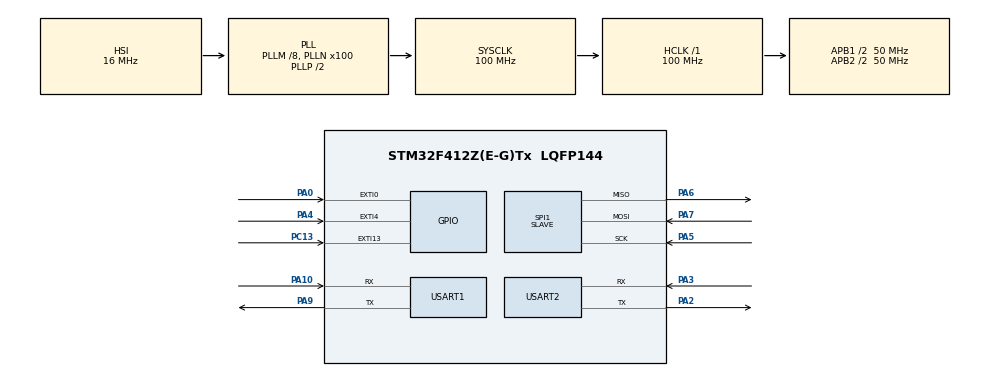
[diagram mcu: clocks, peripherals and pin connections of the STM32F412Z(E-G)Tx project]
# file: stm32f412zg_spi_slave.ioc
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Dma.Request0=SPI1_RX
Dma.Request1=SPI1_TX
Dma.SPI1_RX.0.Direction=DMA_PERIPH_TO_MEMORY
Dma.SPI1_RX.0.FIFOMode=DMA_FIFOMODE_DISABLE
Dma.SPI1_RX.0.Instance=DMA2_Stream0
Dma.SPI1_RX.0.MemDataAlignment=DMA_MDATAALIGN_BYTE
Dma.SPI1_RX.0.MemInc=DMA_MINC_ENABLE
Dma.SPI1_RX.0.Mode=DMA_NORMAL
Dma.SPI1_RX.0.PeriphDataAlignment=DMA_PDATAALIGN_BYTE
Dma.SPI1_RX.0.PeriphInc=DMA_PINC_DISABLE
Dma.SPI1_RX.0.Priority=DMA_PRIORITY_LOW
Dma.SPI1_TX.1.Direction=DMA_MEMORY_TO_PERIPH
Dma.SPI1_TX.1.FIFOMode=DMA_FIFOMODE_DISABLE
Dma.SPI1_TX.1.Instance=DMA2_Stream2
Dma.SPI1_TX.1.MemDataAlignment=DMA_MDATAALIGN_BYTE
Dma.SPI1_TX.1.MemInc=DMA_MINC_ENABLE
Dma.SPI1_TX.1.Mode=DMA_NORMAL
Dma.SPI1_TX.1.PeriphDataAlignment=DMA_PDATAALIGN_BYTE
Dma.SPI1_TX.1.PeriphInc=DMA_PINC_DISABLE
Dma.SPI1_TX.1.Priority=DMA_PRIORITY_LOW
Mcu.Family=STM32F4
Mcu.Name=STM32F412Z(E-G)Tx
Mcu.Package=LQFP144
NVIC.DMA2_Stream0_IRQn=true\:0\:0\:false\:false\:true\:false\:true
NVIC.DMA2_Stream2_IRQn=true\:0\:0\:false\:false\:true\:true\:true
NVIC.EXTI0_IRQn=true\:0\:0\:false\:false\:true\:true\:true
NVIC.EXTI15_10_IRQn=true\:0\:0\:false\:false\:true\:true\:true
NVIC.EXTI4_IRQn=true\:0\:0\:false\:false\:true\:true\:true
NVIC.PriorityGroup=NVIC_PRIORITYGROUP_4
NVIC.SPI1_IRQn=true\:0\:0\:false\:false\:true\:true\:true
NVIC.USART1_IRQn=true\:0\:0\:false\:false\:true\:true\:true
NVIC.USART2_IRQn=true\:0\:0\:false\:false\:true\:true\:true
PA0.GPIO_ModeDefaultEXTI=GPIO_MODE_IT_RISING_FALLING
PA0.Signal=GPXTI0
PA10.Mode=Asynchronous
PA10.Signal=USART1_RX
PA13.Mode=Serial_Wire
PA13.Signal=SYS_JTMS-SWDIO
PA14.Mode=Serial_Wire
PA14.Signal=SYS_JTCK-SWCLK
PA2.Mode=Asynchronous
PA2.Signal=USART2_TX
PA3.Mode=Asynchronous
PA3.Signal=USART2_RX
PA4.GPIO_ModeDefaultEXTI=GPIO_MODE_IT_RISING_FALLING
PA4.Signal=GPXTI4
PA5.Mode=Full_Duplex_Slave
PA5.Signal=SPI1_SCK
PA6.Mode=Full_Duplex_Slave
PA6.Signal=SPI1_MISO
PA7.Mode=Full_Duplex_Slave
PA7.Signal=SPI1_MOSI
PA9.Mode=Asynchronous
PA9.Signal=USART1_TX
PC13.GPIO_ModeDefaultEXTI=GPIO_MODE_IT_RISING
PC13.GPIO_PuPd=GPIO_NOPULL
PC13.Signal=GPXTI13
ProjectManager.HeapSize=0x200
ProjectManager.StackSize=0x400
ProjectManager.TargetToolchain=STM32CubeIDE
RCC.AHBFreq_Value=100000000
RCC.APB1CLKDivider=RCC_HCLK_DIV2
RCC.APB1Freq_Value=50000000
RCC.APB1TimFreq_Value=100000000
RCC.APB2CLKDivider=RCC_HCLK_DIV2
RCC.APB2Freq_Value=50000000
RCC.APB2TimFreq_Value=100000000
RCC.CortexFreq_Value=100000000
RCC.HCLKFreq_Value=100000000
RCC.PLLM=8
RCC.PLLN=100
RCC.SYSCLKFreq_VALUE=100000000
RCC.SYSCLKSource=RCC_SYSCLKSOURCE_PLLCLK
RCC.USBFreq_Value=100000000
RCC.VCOOutputFreq_Value=200000000
SPI1.CLKPhase=SPI_PHASE_1EDGE
SPI1.Direction=SPI_DIRECTION_2LINES
SPI1.Mode=SPI_MODE_SLAVE
SPI1.VirtualType=VM_SLAVE
USART1.VirtualMode=VM_ASYNC
USART2.VirtualMode=VM_ASYNC
board=custom

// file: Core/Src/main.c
/* USER CODE BEGIN Header */
/**
  ******************************************************************************
  * @file           : main.c
  * @brief          : Main program body
  ******************************************************************************
  * @attention
  *
  * <h2><center>&copy; Copyright (c) 2022 STMicroelectronics.
  * All rights reserved.</center></h2>
  *
  * This software component is licensed by ST under BSD 3-Clause license,
  * the "License"; You may not use this file except in compliance with the
  * License. You may obtain a copy of the License at:
  *                        opensource.org/licenses/BSD-3-Clause
  *
  ******************************************************************************
  */
/* USER CODE END Header */
#include "main.h"
#include "dma.h"
#include "spi.h"
#include "usart.h"
#include "gpio.h"

/* USER CODE BEGIN Includes */
#include <stdio.h>
#include <string.h>
/* USER CODE END Includes */

void SystemClock_Config(void);

/* USER CODE BEGIN 0 */

#define BUF_LEN     30

int __io_putchar(int ch)
{
	HAL_UART_Transmit(&huart1, (uint8_t *)&ch, 1, 1);
	return ch;
}

uint8_t cs_pin = 0;
uint8_t spi_rx = 0;
uint8_t m_spi_rx[255] = {0,};
uint8_t spi_rx_len = 2;
// uint8_t spi_rx_len = 255;
uint8_t m_spi_tx[255] = {0,};
uint8_t spi_tx_len = 1;

// const uint16_t BUF_LEN = 255;
uint8_t buf_rx[BUF_LEN] = {0,};
uint8_t buf_tx[BUF_LEN] = {0,};

/* USER CODE END 0 */

int main(void)
{

  /* MCU Configuration--------------------------------------------------------*/

  /* Reset of all peripherals, Initializes the Flash interface and the Systick. */
  HAL_Init();

  /* Configure the system clock */
  SystemClock_Config();

  /* Initialize all configured peripherals */
  MX_GPIO_Init();
  MX_DMA_Init();
  MX_SPI1_Init();
  MX_USART1_UART_Init();
  MX_USART2_UART_Init();

  /* Infinite loop */
  /* USER CODE BEGIN WHILE */
  printf("\r\n ============= spi slave start =============\r\n");
  memset(m_spi_rx, 0, spi_rx_len);
  memset(m_spi_tx, 0, spi_tx_len);
  // m_spi_tx[0] = 0x11;
  m_spi_tx[0] = 0x02;
  m_spi_tx[1] = 0x06;
  HAL_SPI_Receive_DMA(&hspi1, m_spi_rx, spi_rx_len);
  // HAL_SPI_Receive_DMA(&hspi1, m_spi_rx, spi_rx_len);
  uint8_t tx_flag = 0;

  buf_tx[0] = 0x7e;
  buf_tx[BUF_LEN-1] = 0x70;
  HAL_UART_Receive_IT(&huart2, buf_rx, BUF_LEN);
  while (1)
  {
    switch (cs_pin)
    {
      case 1:
      {
        cs_pin = 0;
        printf("cs pin rising \r\n");
      }
        break;
      case 2:
      {
        cs_pin = 0;
        printf("cs pin falling \r\n");
        printf("spi ready \r\n");
      }
        break;
      default:
        break;
    }

    switch (spi_rx)
    {
      case 1:
      {
        spi_rx = 0;
        tx_flag = 1;
        // spi_rx = 2;
        printf("spi_rx : %d %d %d %d \r\n", m_spi_rx[0], m_spi_rx[1], m_spi_rx[2], m_spi_rx[3]);
        // HAL_SPI_Receive_DMA(&hspi1, m_spi_rx, spi_rx_len);
      }
        break;
      default:
        break;
    }
    if (tx_flag)
    {
      tx_flag = 0;
      // printf("spi_tx : %d %d %d %d \r\n", m_spi_tx[0], m_spi_tx[1], m_spi_tx[2], m_spi_tx[3]);
      // HAL_SPI_Transmit_DMA(&hspi1, m_spi_tx, spi_tx_len);
      // HAL_SPI_Transmit_DMA(&hspi1, m_spi_tx, 2);
    }

    // HAL_Delay(1);

    /* USER CODE END WHILE */

  }
}

void SystemClock_Config(void)
{
  RCC_OscInitTypeDef RCC_OscInitStruct = {0};
  RCC_ClkInitTypeDef RCC_ClkInitStruct = {0};

  /** Configure the main internal regulator output voltage
  */
  __HAL_RCC_PWR_CLK_ENABLE();
  __HAL_PWR_VOLTAGESCALING_CONFIG(PWR_REGULATOR_VOLTAGE_SCALE1);
  /** Initializes the RCC Oscillators according to the specified parameters
  * in the RCC_OscInitTypeDef structure.
  */
  RCC_OscInitStruct.OscillatorType = RCC_OSCILLATORTYPE_HSI;
  RCC_OscInitStruct.HSIState = RCC_HSI_ON;
  RCC_OscInitStruct.HSICalibrationValue = RCC_HSICALIBRATION_DEFAULT;
  RCC_OscInitStruct.PLL.PLLState = RCC_PLL_ON;
  RCC_OscInitStruct.PLL.PLLSource = RCC_PLLSOURCE_HSI;
  RCC_OscInitStruct.PLL.PLLM = 8;
  RCC_OscInitStruct.PLL.PLLN = 100;
  RCC_OscInitStruct.PLL.PLLP = RCC_PLLP_DIV2;
  RCC_OscInitStruct.PLL.PLLQ = 2;
  RCC_OscInitStruct.PLL.PLLR = 2;
  if (HAL_RCC_OscConfig(&RCC_OscInitStruct) != HAL_OK)
  {
    Error_Handler();
  }
  /** Initializes the CPU, AHB and APB buses clocks
  */
  RCC_ClkInitStruct.ClockType = RCC_CLOCKTYPE_HCLK|RCC_CLOCKTYPE_SYSCLK
                              |RCC_CLOCKTYPE_PCLK1|RCC_CLOCKTYPE_PCLK2;
  RCC_ClkInitStruct.SYSCLKSource = RCC_SYSCLKSOURCE_PLLCLK;
  RCC_ClkInitStruct.AHBCLKDivider = RCC_SYSCLK_DIV1;
  RCC_ClkInitStruct.APB1CLKDivider = RCC_HCLK_DIV2;
  RCC_ClkInitStruct.APB2CLKDivider = RCC_HCLK_DIV2;

  if (HAL_RCC_ClockConfig(&RCC_ClkInitStruct, FLASH_LATENCY_3) != HAL_OK)
  {
    Error_Handler();
  }
}

/* USER CODE BEGIN 4 */
void HAL_GPIO_EXTI_Callback(uint16_t GPIO_Pin)
{
  if (GPIO_Pin == GPIO_PIN_4)
  {
    if (HAL_GPIO_ReadPin(GPIOA, GPIO_PIN_4) == GPIO_PIN_SET)
    {
      cs_pin = 1;
    }
    else
    {
      HAL_SPI_TransmitReceive_DMA(&hspi1, m_spi_tx, m_spi_rx, spi_rx_len);
      cs_pin = 2;
    }
  }
  else
  {
    printf("button \r\n");
    HAL_UART_Transmit_IT(&huart2, buf_tx, BUF_LEN);
  }
}

void HAL_SPI_RxCpltCallback(SPI_HandleTypeDef *hspi)
{
  spi_rx = 1;
  HAL_SPI_Receive_DMA(&hspi1, m_spi_rx, spi_rx_len);
  // if (m_spi_rx[0]==0x06)
  // {
  //   HAL_SPI_Receive_DMA(&hspi1, m_spi_rx, spi_rx_len);
  //   return ;
  // }
  // else if (m_spi_rx[0]==0x05)
  // {
  //   // HAL_SPI_Transmit_DMA(&hspi1, m_spi_tx, 1);
  //   HAL_SPI_TransmitReceive_DMA(&hspi1, m_spi_tx, m_spi_rx, spi_rx_len);
  // }
}

void HAL_SPI_TxRxCpltCallback(SPI_HandleTypeDef *hspi)
{
  // HAL_SPI_Receive_DMA(&hspi1, m_spi_rx, spi_rx_len);
  spi_rx = 1;
  HAL_SPI_TransmitReceive_DMA(&hspi1, m_spi_tx, m_spi_rx, spi_rx_len);
}

void HAL_UART_RxCpltCallback(UART_HandleTypeDef *huart)
{
  if (huart->Instance == USART2)
  {
    HAL_UART_Receive_IT(&huart2, buf_rx, BUF_LEN);
    printf("uart rx int \r\n");
  }
}
/* USER CODE END 4 */

void Error_Handler(void)
{
  __disable_irq();
  while (1)
  {
  }
}

/************************ (C) COPYRIGHT STMicroelectronics *****END OF FILE****/
